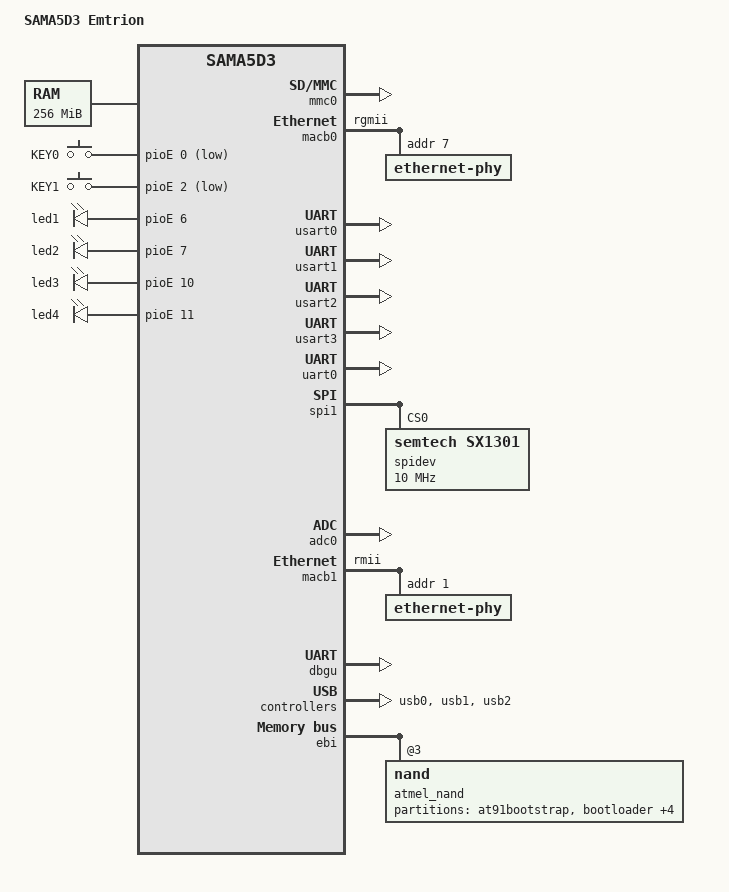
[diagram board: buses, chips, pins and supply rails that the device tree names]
/*
 * at91-sama5d3_xplained.dts - Device Tree file for the SAMA5D3 Xplained board
 *
 *  Copyright (C) 2018 Daniel Evans,
 *		  2018 Daniel Evans <photonthunder@gmail.com>
 *
 * Licensed under GPLv2 or later.
 */
/dts-v1/;
#include "sama5d36.dtsi"

/ {
	model = "SAMA5D3 Emtrion";
	compatible = "emtrion,sama5d3_emtrion", "atmel,sama5d3", "atmel,sama5";

	chosen {
		stdout-path = "serial0:115200n8";
	};

	memory {
		reg = <0x20000000 0x10000000>;
	};

	clocks {
		slow_xtal {
			clock-frequency = <32768>;
		};

		main_xtal {
			clock-frequency = <12000000>;
		};
	};

	ahb {
		apb {
			mmc0: mmc@f0000000 {
				pinctrl-0 = <&pinctrl_mmc0_clk_cmd_dat0 &pinctrl_mmc0_dat1_3>;
				/* vmmc-supply = <&vcc_mmc0_reg>;
				vqmmc-supply = <&vcc_3v3_reg>; */
				status = "okay";
				slot@0 {
					reg = <0>;
					bus-width = <8>;
					/* cd-gpios = <&pioE 0 GPIO_ACTIVE_LOW>; */
				};
			};

			mmc1: mmc@f8000000 {
				status = "disabled";
				slot@0 {
					reg = <0>;
					bus-width = <4>;
					cd-gpios = <&pioE 1 GPIO_ACTIVE_HIGH>;
				};
			};

			spi0: spi@f0004000 {
				cs-gpios = <&pioD 13 0>, <0>, <0>, <&pioD 16 0>;
				status = "disabled";
			};

			can0: can@f000c000 {
				status = "disabled";
			};

			tcb0: timer@f0010000 {
				timer0: timer@0 {
					compatible = "atmel,tcb-timer";
					reg = <0>;
				};

				timer1: timer@1 {
					compatible = "atmel,tcb-timer";
					reg = <1>;
				};
			};

			ssc0: ssc@f0008000 {
				pinctrl-0 = <>;
			};

			i2c0: i2c@f0014000 {
				status = "disabled";
			};

			i2c1: i2c@f0018000 {
				status = "disabled";
			};

			macb0: ethernet@f0028000 {
				phy-mode = "rgmii";
				#address-cells = <1>;
				#size-cells = <0>;
				status = "okay";

				ethernet-phy@7 {
					reg = <0x7>;
				};
			};

			pwm0: pwm@f002c000 {
				pinctrl-names = "default";
				pinctrl-0 = <&pinctrl_pwm0_pwmh0_0 &pinctrl_pwm0_pwmh1_0>;
				status = "disabled";
			};

			sha@f8034000 {
				dmas = <0>, <0>;
				status = "disabled";
			};

			aes@f8038000 {
				dmas = <0>, <0>;
				status = "disabled";
			};

			tdes@f803c000 {
				dmas = <0>, <0>;
				status = "disabled";
			};

			usart0: serial@f001c000 {
				pinctrl-0 = <&pinctrl_usart0>;
				atmel,use-dma-rx;
				atmel,use-dma-tx;
				status = "okay";
			};

			usart1: serial@f0020000 {
				pinctrl-0 = <&pinctrl_usart1>;
				atmel,use-dma-rx;
				atmel,use-dma-tx;
				status = "okay";
			};

			usart2: serial@f8020000 {
				pinctrl-0 = <&pinctrl_usart2>;
				atmel,use-dma-rx;
				atmel,use-dma-tx;
				status = "okay";
			};

			usart3: serial@f8024000 {
				pinctrl-0 = <&pinctrl_usart3>;
				atmel,use-dma-rx;
				atmel,use-dma-tx;
				status = "okay";
			};

			uart0: serial@f0024000 {
				status = "okay";
			};

			spi1: spi@f8008000 {
				cs-gpios = <0>, <0>, <0>, <0>;
				pinctrl-0 = <&pinctrl_spi1 &pinctrl_ble_irq>;
				dmas = <0>, <0>;
				status = "okay";
				spidev@0 {
					compatible = "semtech,sx1301";
					spi-max-frequency = <10000000>;
					reg = <0>;
				};
			};

			adc0: adc@f8018000 {
				pinctrl-0 = <
					&pinctrl_adc0_adtrg
					&pinctrl_adc0_ad0
					&pinctrl_adc0_ad1
					&pinctrl_adc0_ad2
					&pinctrl_adc0_ad3
					&pinctrl_adc0_ad4
					&pinctrl_adc0_ad5
					>;
				atmel,adc-vref = <3300>;
				status = "okay";
			};

			i2c2: i2c@f801c000 {
				dmas = <0>, <0>;	/* Do not use DMA for i2c2 */
				status = "disabled";
			};

			macb1: ethernet@f802c000 {
				phy-mode = "rmii";
				#address-cells = <1>;
				#size-cells = <0>;
				status = "okay";

				ethernet-phy@1 {
					reg = <0x1>;
					ti-dp83848,led-mode = <2>;
					ti-dp83848,speed_led_alternative;
				};
			};

			dbgu: serial@ffffee00 {
				u-boot,dm-pre-reloc;
				status = "okay";
			};

			pinctrl@fffff200 {
				board {
					pinctrl_usba_vbus: usba_vbus {
						atmel,pins =
							<AT91_PIOE 9 AT91_PERIPH_GPIO AT91_PINCTRL_DEGLITCH>;	/* PE9, conflicts with A9 */
					};

					pinctrl_ble_irq: ble_irq {
						atmel,pins =
							<AT91_PIOD 8 AT91_PERIPH_GPIO AT91_PINCTRL_PULL_DOWN>;
					};

				};
			};

			pmc: pmc@fffffc00 {
				main: mainck {
					clock-frequency = <12000000>;
				};
			};
		};

		usb0: gadget@500000 {
			atmel,vbus-gpio = <&pioE 9 GPIO_ACTIVE_HIGH>;	/* PE9, conflicts with A9 */
			pinctrl-names = "default";
			pinctrl-0 = <&pinctrl_usba_vbus>;
			status = "okay";
		};

		usb1: ohci@600000 {
			num-ports = <3>;
			atmel,vbus-gpio = <0
					   &pioE 3 GPIO_ACTIVE_LOW
					   &pioE 4 GPIO_ACTIVE_LOW
					  >;
			status = "okay";
		};

		usb2: ehci@700000 {
			status = "okay";
		};
	};

	ebi: ebi@10000000 {
		pinctrl-0 = <&pinctrl_ebi_nand_addr>;
		pinctrl-names = "default";
		status = "okay";

		nand_controller: nand-controller {
		status = "okay";

		nand@3 {
			reg = <0x3 0x0 0x2>;
			atmel,rb = <0>;
			nand-bus-width = <8>;
			nand-ecc-mode = "hw";
			nand-ecc-strength = <4>;
			nand-ecc-step-size = <512>;
			nand-on-flash-bbt;
			label = "atmel_nand";

			partitions {
				compatible = "fixed-partitions";
				#address-cells = <1>;
				#size-cells = <1>;

				at91bootstrap@0 {
					label = "at91bootstrap";
					reg = <0x0 0x40000>;
				};

				bootloader@40000 {
					label = "bootloader";
					reg = <0x40000 0x80000>;
				};

				bootloaderenv@c0000 {
					label = "bootloader env";
					reg = <0xc0000 0xc0000>;
				};

				dtb@180000 {
					label = "device tree";
					reg = <0x180000 0x80000>;
				};

				kernel@200000 {
					label = "kernel";
					reg = <0x200000 0x600000>;
				};

				rootfs@800000 {
					label = "rootfs";
					reg = <0x800000 0x0f800000>;
				};
			};
		};
		};
	};

	gpio_keys {
		compatible = "gpio-keys";

		key0 {
			label = "KEY0";
			gpios = <&pioE 0 GPIO_ACTIVE_LOW>;
			linux,code = <0x104>;
			gpio-key,wakeup;
		};

		key1 {
			label = "KEY1";
			gpios = <&pioE 2 GPIO_ACTIVE_LOW>;
			linux,code = <0x74>;
			gpio-key,wakeup;
		};
	};

	leds {
		compatible = "gpio-leds";

		led1 {
			label = "led1";
			gpios = <&pioE 6 GPIO_ACTIVE_HIGH>;
			linux,default-trigger = "heartbeat";
		};

		led2 {
			label = "led2";
			gpios = <&pioE 7 GPIO_ACTIVE_HIGH>;
			linux,default-state = "off";
		};

		led3 {
			label = "led3";
			gpios = <&pioE 10 GPIO_ACTIVE_HIGH>;
			linux,default-state = "off";
		};

		led4 {
			label = "led4";
			gpios = <&pioE 11 GPIO_ACTIVE_HIGH>;
			linux,default-state = "off";
		};
	};
};

&adc_op_clk {
	clock-frequency = <500000>;
};
